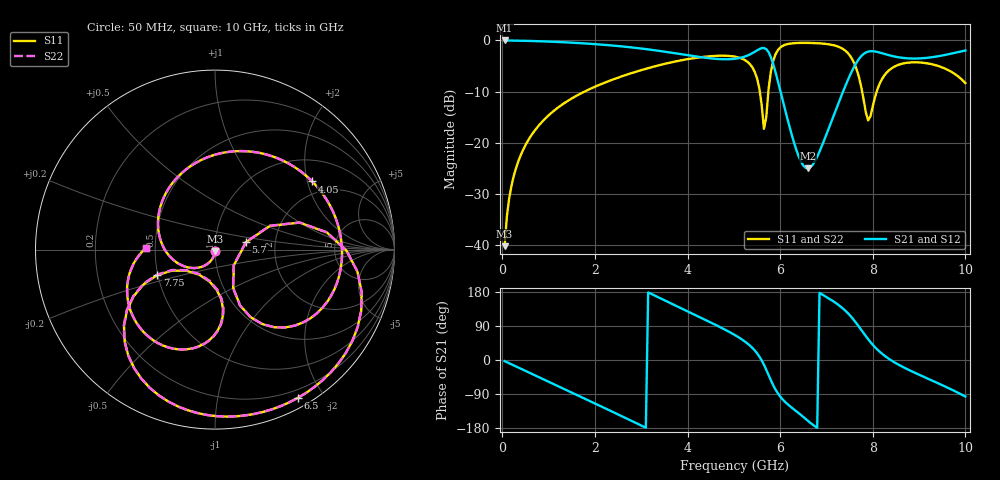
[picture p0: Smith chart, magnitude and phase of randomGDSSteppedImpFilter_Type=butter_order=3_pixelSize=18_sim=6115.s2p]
! freq	dB(S11)	phase(S11)	dB(S12)	phase(S12)
!  dB(S21)	phase(S21)	dB(S22)	phase(S22)
!S-par simulation data
#  GHz  S  DB  R 50
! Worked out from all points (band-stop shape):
!   200 points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, 50 MHz to 10 GHz, reference 50 ohm
!   highest |S21| = -0.01 dB at 50 MHz (marker M1); lowest = -25.1 dB at 6.6 GHz (marker M2)
!   |S21| within 3 dB of the highest: start of sweep to 4.085 GHz; 7.759 GHz to 8.399 GHz (640.2 MHz wide, 7.92 % of centre) (the widest 2 of 4)
!   lowest |S11| = -40.3 dB at 50 MHz (marker M3), VSWR 1.02, Z = 50 - j0.968 ohm
!   |S11| at or under -10 dB: start of sweep to 1.778 GHz; 5.56 GHz to 5.746 GHz (185.6 MHz wide, 3.28 % of centre); 7.77 GHz to 8.086 GHz (315.8 MHz wide, 3.98 % of centre)
!   |S22| runs from -40.3 to -0.5 dB; largest |S21 - S12| = 0
!   S11 on the Smith chart (normalised r, x): 50 MHz: 1.00, -0.02; 4.05 GHz: 1.59, +2.14; 5.7 GHz: 1.41, +0.12; 6.5 GHz: 0.11, -1.70; 7.75 GHz: 0.49, -0.16; 10 GHz: 0.45, +0.01
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0.05  -40.27 -92.0  -0.01 -2.9  -0.01 -2.9  -40.27 -92.0
0.2  -28.36 -101.5  -0.03 -11.5  -0.03 -11.5  -28.36 -101.5
0.5  -20.51 -119.2  -0.08 -28.7  -0.08 -28.7  -20.51 -119.2
1.75  -10.12 168.8  -0.57 -100.3  -0.57 -100.3  -10.12 168.8
2.6  -6.97 119.6  -1.18 -149.4  -1.18 -149.4  -6.97 119.6
3.4  -4.82 72.9  -2.06 163.7  -2.06 163.7  -4.82 72.9
4.05  -3.59 35.1  -2.96 125.6  -2.96 125.6  -3.59 35.1
5.05  -3.23 -24.9  -3.56 63.8  -3.56 63.8  -3.23 -24.9
5.45  -6.13 -57.4  -2.23 25.4  -2.23 25.4  -6.14 -57.5
5.65  -17.30 -39.7  -1.48 -12.6  -1.48 -12.6  -17.36 -39.9
5.7  -14.99 13.4  -1.71 -25.7  -1.71 -25.7  -15.04 13.7
5.8  -6.10 17.7  -3.28 -53.7  -3.28 -53.7  -6.11 17.8
6  -1.40 -16.2  -9.73 -96.2  -9.73 -96.2  -1.40 -16.2
6.5  -0.48 -60.8  -24.49 -150.3  -24.49 -150.3  -0.48 -60.8
6.6  -0.48 -67.2  -25.06 -160.7  -25.06 -160.7  -0.49 -67.2
6.7  -0.51 -73.5  -24.38 -170.4  -24.38 -170.4  -0.51 -73.5
7.45  -2.36 -129.4  -8.02 125.1  -8.02 125.1  -2.36 -129.5
7.75  -9.06 -156.1  -3.08 79.8  -3.08 79.8  -9.10 -156.7
7.9  -15.64 -122.0  -2.19 54.9  -2.19 54.9  -15.83 -122.0
8.35  -5.85 -94.1  -2.89 2.9  -2.89 2.9  -5.86 -93.9
9.25  -4.61 -141.4  -3.32 -52.5  -3.32 -52.5  -4.61 -141.3
10  -8.35 178.3  -1.97 -96.4  -1.97 -96.4  -8.35 178.6
